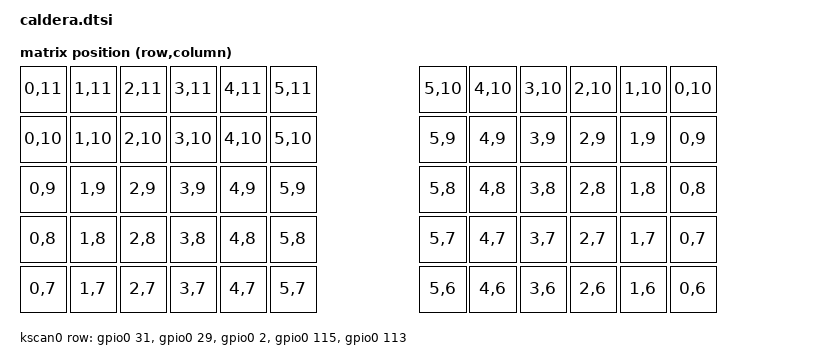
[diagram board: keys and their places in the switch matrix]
#include <dt-bindings/zmk/matrix_transform.h>

/ {
    chosen {
        zmk,kscan = &kscan0;
        zmk,matrix_transform = &default_transform;
    };

    default_transform: keymap_transform_0 {
        compatible = "zmk,matrix-transform";
        columns = <12>;
        rows = <5>;

        map = <
RC(0,11) RC(1,11) RC(2,11) RC(3,11) RC(4,11) RC(5,11)                 RC(5,10) RC(4,10) RC(3,10) RC(2,10) RC(1,10) RC(0,10)
RC(0,10) RC(1,10) RC(2,10) RC(3,10) RC(4,10) RC(5,10)                 RC(5,9)  RC(4,9)  RC(3,9)  RC(2,9)  RC(1,9)  RC(0,9)
RC(0,9)  RC(1,9)  RC(2,9)  RC(3,9)  RC(4,9)  RC(5,9)                  RC(5,8)  RC(4,8)  RC(3,8)  RC(2,8)  RC(1,8)  RC(0,8)
RC(0,8)  RC(1,8)  RC(2,8)  RC(3,8)  RC(4,8)  RC(5,8)                  RC(5,7)  RC(4,7)  RC(3,7)  RC(2,7)  RC(1,7)  RC(0,7)
RC(0,7)  RC(1,7)  RC(2,7)  RC(3,7)  RC(4,7)  RC(5,7)                  RC(5,6)  RC(4,6)  RC(3,6)  RC(2,6)  RC(1,6)  RC(0,6)
        >;
    };

    kscan0: kscan {
        compatible = "zmk,kscan-gpio-matrix";

        diode-direction = "col2row";
        row-gpios
            = <&gpio0 31 (GPIO_ACTIVE_HIGH | GPIO_PULL_DOWN)> // Row A from the schematic file
            , <&gpio0 29 (GPIO_ACTIVE_HIGH | GPIO_PULL_DOWN)> // Row B from the schematic file
            , <&gpio0 2 (GPIO_ACTIVE_HIGH | GPIO_PULL_DOWN)>  // Row C from the schematic file
            , <&gpio0 115 (GPIO_ACTIVE_HIGH | GPIO_PULL_DOWN)> // Row D from the schematic file
            , <&gpio0 113 (GPIO_ACTIVE_HIGH | GPIO_PULL_DOWN)> // Row E from the schematic file
            ;
    };
};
